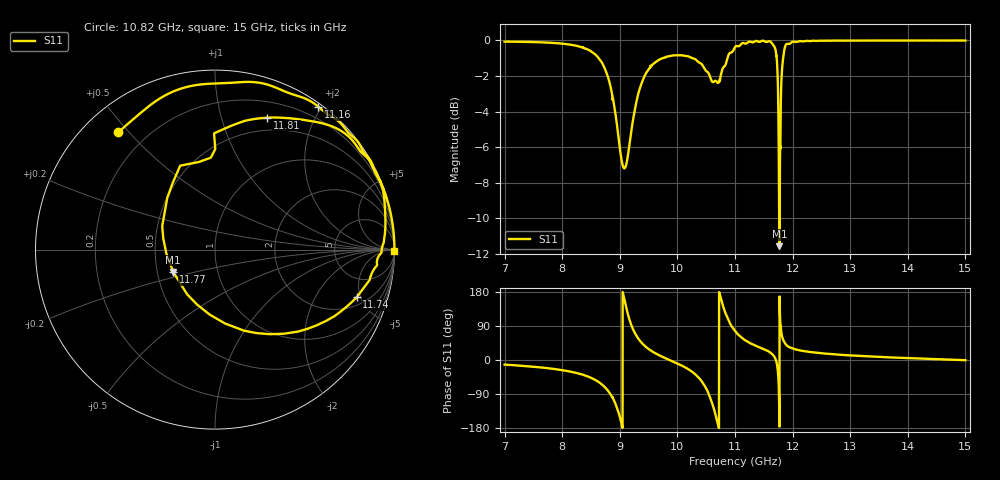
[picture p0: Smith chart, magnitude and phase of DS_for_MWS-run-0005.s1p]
! TOUCHSTONE file generated by CST DESIGN STUDIO
! Date and time: Mon Feb 10 16:55:51 2025
! Project name: C:\Work\MatlabApps\UnitCellType2OptimizationMatlab\CST\unitcell.cst
! Tree item: Tasks\Sweep1\SPara1\S-Parameters
! Header version: 2024
! Port assignment regex: !\s*Touchstone port\s*([0-9]+)\s*=\s*(CST MWS port|CST DES external port|CST DES block port)\s*(.+)\s* \(\"(.*)\"\)(\s*mode\s*([0-9]+))?.*
! Touchstone port assignment:
! Touchstone port 1 = CST DES external port 1 ("")
# GHz S MA R 50
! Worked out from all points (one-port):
!   4001 points, 7 GHz to 15 GHz, reference 50 ohm
!   lowest |S11| = -11.6 dB at 11.77 GHz (marker M1), VSWR 1.72, Z = 30.3 - j8.1 ohm
!   |S11| at or under -10 dB: 11.76635 GHz to 11.77558 GHz (9.227 MHz wide, 0.0784 % of centre)
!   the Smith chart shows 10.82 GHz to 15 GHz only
!   S11 on the Smith chart (normalised r, x): 10.82 GHz: 0.10, +0.47; 11.16 GHz: 0.04, +1.96; 11.74 GHz: 2.66, -4.62; 11.77 GHz: 0.61, -0.16; 11.81 GHz: 0.36, +1.41; 15 GHz: open
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7  0.9922 -12.2
8  0.9796 -26.8
8.472  0.9382 -45.2
8.764  0.8148 -75.4
8.89  0.6739 -104.0
9  0.4981 -150.0
9.146  0.4809 117.6
9.268  0.6471 69.4
9.548  0.8484 24.0
10  0.9082 -9.2
10.338  0.8776 -41.9
10.552  0.8021 -93.0
10.628  0.7645 -125.8
10.7  0.7598 -167.5
10.82  0.8467 129.5
10.9  0.9186 100.7
11  0.958 76.9
11.156  0.9824 54.1
11.664  0.9714 12.6
11.708  0.9303 0.6
11.736  0.8328 -18.6
11.77  0.264 -151.9
11.808  0.7901 68.5
11.874  0.966 43.0
12  0.9923 30.4
13  0.9987 12.1
14  0.9998 5.0
15  0.9992 -0.5
